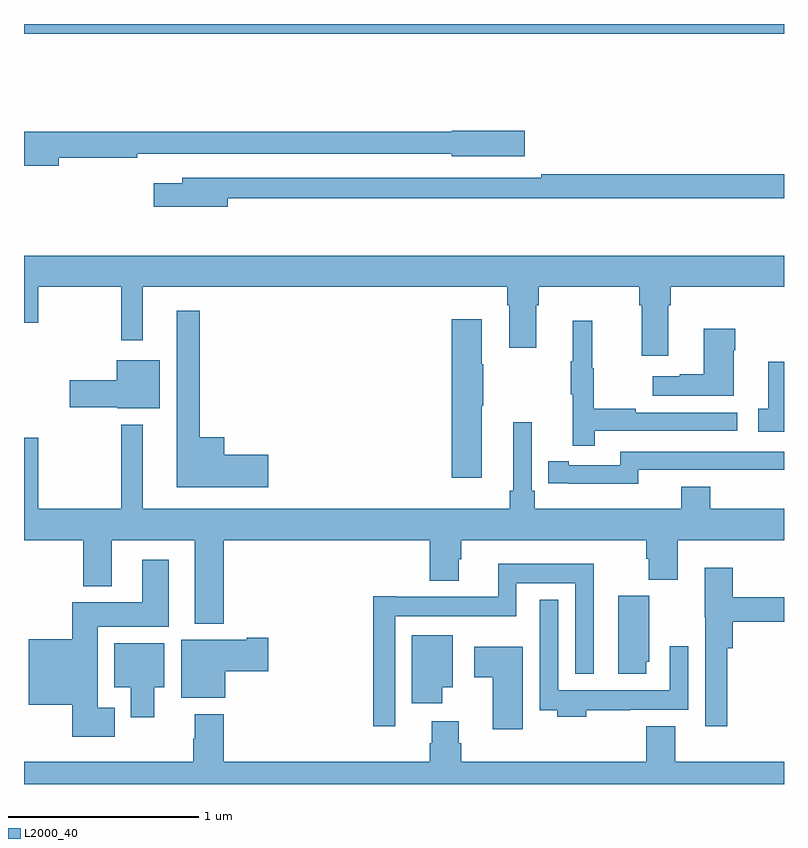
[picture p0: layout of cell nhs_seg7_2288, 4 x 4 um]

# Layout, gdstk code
import gdstk
lib = gdstk.Library(unit=1e-6, precision=1e-09)
def R(c, l, rs):  # rectangles x0, y0, x1, y1
    for r in rs: c.add(gdstk.rectangle(r[:2], r[2:], *l))
def P(c, l, *ps):  # polygons
    for p in ps: c.add(gdstk.Polygon(p, *l))
L2000_40 = (2000, 40)

nhs_seg7_2288 = lib.new_cell('nhs_seg7_2288')
R(nhs_seg7_2288, L2000_40, [(261,1001.948,265,1002)])
P(nhs_seg7_2288, L2000_40, [(261.184,1001.296),(261.596,1001.296),(261.596,1001.316),(263.25,1001.316),(263.25,1001.303),(263.635,1001.303),(263.635,1001.438),(263.25,1001.438),(263.25,1001.432),(261,1001.432),(261,1001.254),(261.184,1001.254)],
  [(262.072,1001.082),(265,1001.082),(265,1001.21),(263.722,1001.21),(263.722,1001.19),(261.833,1001.19),(261.833,1001.161),(261.684,1001.161),(261.684,1001.039),(262.072,1001.039)],
  [(264.391,1000.52),(264.404,1000.52),(264.404,1000.616),(265,1000.616),(265,1000.78),(261,1000.78),(261,1000.428),(261.076,1000.428),(261.076,1000.616),(261.511,1000.616),(261.511,1000.335),(261.625,1000.335),(261.625,1000.616),(263.543,1000.616),(263.543,1000.52),(263.555,1000.52),(263.555,1000.296),(263.695,1000.296),(263.695,1000.52),(263.708,1000.52),(263.708,1000.616),(264.239,1000.616),(264.239,1000.52),(264.251,1000.52),(264.251,1000.254),(264.391,1000.254)],
  [(262.285,999.734),(262.054,999.734),(262.054,999.826),(261.925,999.826),(261.925,1000.492),(261.803,1000.492),(261.803,999.563),(262.285,999.563)],
  [(263.41,999.991),(263.418,999.991),(263.418,1000.208),(263.41,1000.208),(263.41,1000.447),(263.252,1000.447),(263.252,999.612),(263.41,999.612)],
  [(264.005,999.858),(264.754,999.858),(264.754,999.954),(264.221,999.954),(264.221,999.974),(263.998,999.974),(263.998,1000.188),(263.99,1000.188),(263.99,1000.438),(263.888,1000.438),(263.888,1000.225),(263.877,1000.225),(263.877,1000.051),(263.888,1000.051),(263.888,999.78),(264.005,999.78)],
  [(264.736,1000.283),(264.744,1000.283),(264.744,1000.396),(264.578,1000.396),(264.578,1000.157),(264.452,1000.157),(264.452,1000.147),(264.309,1000.147),(264.309,1000.043),(264.736,1000.043)],
  [(261.715,1000.231),(261.488,1000.231),(261.488,1000.125),(261.24,1000.125),(261.24,999.983),(261.492,999.983),(261.492,999.977),(261.715,999.977)],
  [(265,1000.222),(264.917,1000.222),(264.917,999.975),(264.864,999.975),(264.864,999.855),(265,999.855)],
  [(262.052,999.284),(263.135,999.284),(263.135,999.071),(263.287,999.071),(263.287,999.183),(263.3,999.183),(263.3,999.284),(264.275,999.284),(264.275,999.185),(264.287,999.185),(264.287,999.076),(264.44,999.076),(264.44,999.284),(265,999.284),(265,999.448),(264.611,999.448),(264.611,999.565),(264.458,999.565),(264.458,999.448),(263.687,999.448),(263.687,999.544),(263.673,999.544),(263.673,999.904),(263.576,999.904),(263.576,999.544),(263.557,999.544),(263.557,999.448),(261.625,999.448),(261.625,999.892),(261.511,999.892),(261.511,999.448),(261.076,999.448),(261.076,999.823),(261,999.823),(261,999.284),(261.311,999.284),(261.311,999.041),(261.463,999.041),(261.463,999.284),(261.899,999.284),(261.899,998.843),(262.052,998.843)],
  [(264.234,999.654),(264.694,999.654),(264.694,999.653),(265,999.653),(265,999.75),(264.138,999.75),(264.138,999.678),(263.866,999.678),(263.866,999.698),(263.758,999.698),(263.758,999.582),(263.866,999.582),(263.866,999.581),(264.234,999.581)],
  [(261.478,998.401),(261.388,998.401),(261.388,998.828),(261.763,998.828),(261.763,999.181),(261.623,999.181),(261.623,998.956),(261.254,998.956),(261.254,998.761),(261.026,998.761),(261.026,998.417),(261.254,998.417),(261.254,998.249),(261.478,998.249)],
  [(262.953,998.882),(263.592,998.882),(263.592,999.056),(263.901,999.056),(263.901,998.579),(263.998,998.579),(263.998,999.16),(263.495,999.16),(263.495,998.986),(262.96,998.986),(262.96,998.989),(262.837,998.989),(262.837,998.304),(262.953,998.304)],
  [(264.701,998.714),(264.731,998.714),(264.731,998.854),(265,998.854),(265,998.983),(264.731,998.983),(264.731,999.139),(264.584,999.139),(264.584,998.877),(264.585,998.877),(264.585,998.304),(264.701,998.304)],
  [(264.274,998.643),(264.292,998.643),(264.292,998.991),(264.128,998.991),(264.128,998.58),(264.274,998.58)],
  [(263.96,998.388),(264.191,998.388),(264.191,998.39),(264.495,998.39),(264.495,998.725),(264.399,998.725),(264.399,998.494),(263.811,998.494),(263.811,998.971),(263.715,998.971),(263.715,998.388),(263.807,998.388),(263.807,998.354),(263.96,998.354)],
  [(263.2,998.51),(263.257,998.51),(263.257,998.782),(263.042,998.782),(263.042,998.424),(263.2,998.424)],
  [(262.06,998.593),(262.285,998.593),(262.285,998.771),(262.172,998.771),(262.172,998.758),(261.827,998.758),(261.827,998.453),(262.06,998.453)],
  [(261.685,998.51),(261.739,998.51),(261.739,998.74),(261.476,998.74),(261.476,998.51),(261.563,998.51),(261.563,998.352),(261.685,998.352)],
  [(263.626,998.722),(263.369,998.722),(263.369,998.563),(263.468,998.563),(263.468,998.288),(263.626,998.288)],
  [(265,998.116),(264.427,998.116),(264.427,998.305),(264.275,998.305),(264.275,998.116),(263.3,998.116),(263.3,998.214),(263.287,998.214),(263.287,998.329),(263.147,998.329),(263.147,998.214),(263.135,998.214),(263.135,998.116),(262.052,998.116),(262.052,998.368),(261.899,998.368),(261.899,998.237),(261.892,998.237),(261.892,998.116),(261,998.116),(261,998),(265,998)])

lib.write_gds('nhs_seg7_2288.gds')
